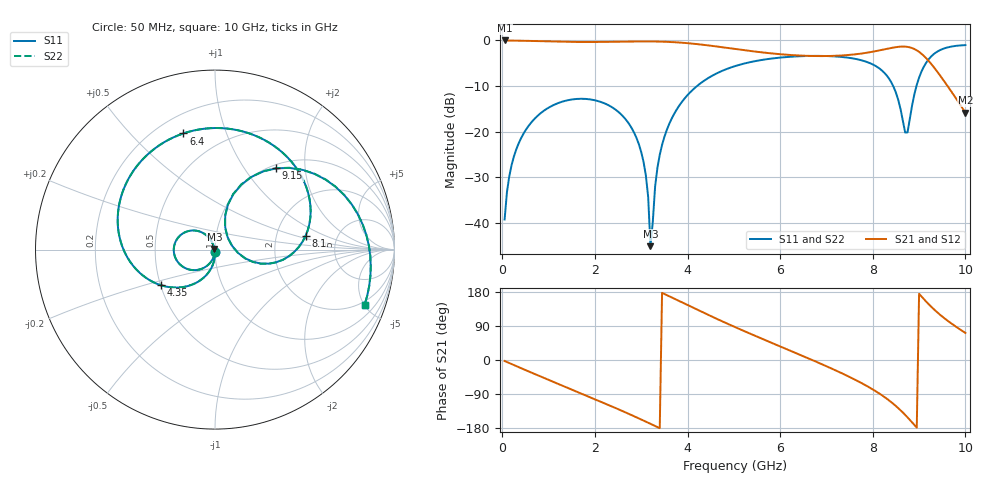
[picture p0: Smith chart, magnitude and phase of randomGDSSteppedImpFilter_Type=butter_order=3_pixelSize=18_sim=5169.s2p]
! freq	dB(S11)	phase(S11)	dB(S12)	phase(S12)
!  dB(S21)	phase(S21)	dB(S22)	phase(S22)
!S-par simulation data
#  GHz  S  DB  R 50
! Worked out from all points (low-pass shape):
!   200 points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, 50 MHz to 10 GHz, reference 50 ohm
!   highest |S21| = 0.00 dB at 50 MHz (marker M1); lowest = -15.8 dB at 10 GHz (marker M2)
!   |S21| within 3 dB of the highest: start of sweep to 5.988 GHz; 7.651 GHz to 9.062 GHz (1.411 GHz wide, 16.9 % of centre)
!   lowest |S11| = -45.1 dB at 3.2 GHz (marker M3), VSWR 1.01, Z = 49.6 + j0.406 ohm
!   |S11| at or under -10 dB: start of sweep to 4.203 GHz; 8.441 GHz to 8.943 GHz (502.1 MHz wide, 5.78 % of centre)
!   |S22| runs from -44.8 to -1.0 dB; largest |S21 - S12| = 0
!   S11 on the Smith chart (normalised r, x): 50 MHz: 1.00, -0.02; 4.35 GHz: 0.50, -0.23; 6.4 GHz: 0.31, +0.72; 8.1 GHz: 2.94, +0.62; 9.15 GHz: 1.06, +1.42; 10 GHz: 1.71, -5.02
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0.05  -39.21 -91.6  -0.00 -2.7  -0.00 -2.7  -39.21 -91.5
0.2  -27.33 -100.8  -0.03 -10.7  -0.03 -10.7  -27.33 -100.8
0.5  -19.71 -117.0  -0.08 -26.5  -0.08 -26.5  -19.71 -117.0
1.75  -12.78 178.7  -0.34 -90.7  -0.34 -90.7  -12.78 178.7
2.85  -20.27 121.9  -0.23 -148.6  -0.23 -148.6  -20.27 122.0
3.1  -29.55 111.0  -0.21 -162.7  -0.21 -162.7  -29.55 111.4
3.15  -34.26 111.6  -0.21 -165.5  -0.21 -165.5  -34.24 112.4
3.2  -45.05 132.9  -0.22 -168.4  -0.22 -168.4  -44.81 135.5
3.3  -32.00 -91.5  -0.23 -174.1  -0.23 -174.1  -31.99 -92.2
3.4  -25.04 -93.7  -0.25 -179.9  -0.25 -179.9  -25.04 -94.0
3.75  -15.40 -112.2  -0.41 159.6  -0.41 159.6  -15.40 -112.3
4.35  -8.87 -146.5  -0.97 124.6  -0.97 124.6  -8.87 -146.5
5.05  -5.54 175.0  -1.90 85.6  -1.90 85.6  -5.54 174.9
6.4  -3.47 105.2  -3.30 15.2  -3.30 15.2  -3.47 105.2
6.7  -3.38 89.7  -3.41 -0.4  -3.41 -0.4  -3.38 89.7
7.45  -3.75 49.1  -3.21 -41.9  -3.21 -41.9  -3.75 49.0
8.1  -5.83 8.7  -2.27 -85.2  -2.27 -85.2  -5.83 8.6
8.35  -8.35 -8.5  -1.74 -106.5  -1.74 -106.5  -8.35 -8.6
8.75  -20.14 44.3  -1.41 -151.3  -1.41 -151.3  -20.25 44.5
9.15  -4.93 53.0  -3.86 154.5  -3.86 154.5  -4.93 53.1
9.55  -1.72 13.8  -9.04 109.8  -9.04 109.8  -1.72 13.9
10  -1.03 -20.3  -15.82 71.5  -15.82 71.5  -1.02 -20.2
